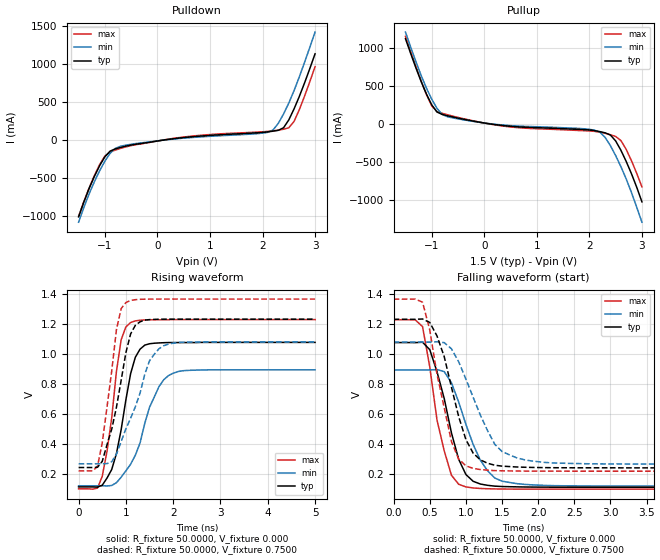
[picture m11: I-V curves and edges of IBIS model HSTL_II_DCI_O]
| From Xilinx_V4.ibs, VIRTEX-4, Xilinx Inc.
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|   Model HSTL_II_DCI_O
[Model]   HSTL_II_DCI_O
Model_type   Output
Polarity   Non-Inverting
Enable   Active-Low
Vmeas =   0.7500V
Cref =  0.000F
Rref =  50.0000
Vref =   0.7500V
C_comp   8.0000pF   8.0000pF   8.0000pF
[Temperature Range]   25.0000   85.0000   0.000
[Voltage Range]   1.5000V   1.4000V   1.6000V
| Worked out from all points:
|   slope of the pulldown table from 0 to 0.225 V, typ, clamps not added: 9.86 ohm
|   slope of the pullup table from 0 to 0.225 V, typ, clamps not added: 9.97 ohm
|   rising waveform, R_fixture 50.0000, V_fixture 0.000: 20-80 % time 342ps typ, 520ps min, 271ps max; typ from 0.114 V to 1.08 V
|   rising waveform, R_fixture 50.0000, V_fixture 0.7500: 20-80 % time 376ps typ, 542ps min, 273ps max; typ from 0.244 V to 1.23 V
|   falling waveform, R_fixture 50.0000, V_fixture 0.000: 20-80 % time 297ps typ, 371ps min, 251ps max; typ from 1.08 V to 0.114 V
|   falling waveform, R_fixture 50.0000, V_fixture 0.7500: 20-80 % time 331ps typ, 439ps min, 278ps max; typ from 1.23 V to 0.244 V
[Pulldown]
| voltage   I(typ)   I(min)   I(max)
-1.5V     -1.013A    -1.083A    -1.004A
-1.3V     -640.2mA   -710.8mA   -632.6mA
-1.1V     -339.3mA   -407.2mA   -324.7mA
-1V       -221.8mA   -280.1mA   -213.1mA
-800mV    -118mA     -110.3mA   -133.6mA
500mV     30.8mA     23.32mA    38.03mA
1.9V      93.56mA    82.42mA    103.1mA
2.2V      114.8mA    130.6mA    119.4mA
2.4V      159.3mA    340.5mA    140.7mA
2.5V      262.8mA    484.7mA    159.3mA
2.6V      407.3mA    648.3mA    242.7mA
3V        1.133A     1.419A     963.1mA
[Pullup]
| voltage   I(typ)   I(min)   I(max)
-1.5V     1.123A     1.21A      1.155A
-1.2V     558.3mA    637.8mA    565.5mA
-1V       254.2mA    328.7mA    241mA
-900mV    160.7mA    208.6mA    167.1mA
-800mV    129.2mA    128.8mA    143.9mA
400mV     -20.03mA   -12.5mA    -27.21mA
1.9V      -69.73mA   -59.11mA   -84.36mA
2.2V      -96.38mA   -103.5mA   -103.6mA
2.4V      -140.7mA   -280.3mA   -137.1mA
2.6V      -341.1mA   -556.2mA   -213.5mA
2.8V      -647.5mA   -893.9mA   -477mA
3V        -1.018A    -1.285A    -821.1mA
[Ramp]
| variable   typ   min   max
dV/dt_r   0.5782/0.3357n   0.4641/0.5103n   0.6770/0.2344n
dV/dt_f   0.5889/0.3574n   0.4822/0.5031n   0.6810/0.2740n
R_load = 50.0000
[Rising Waveform]
R_fixture = 50.0000
V_fixture = 0.000
| time   V(typ)   V(min)   V(max)
0s        114.4mV    121.9mV    101.6mV
400ps     112.9mV    121.9mV    106.3mV
500ps     125.7mV    121.7mV    184.8mV
700ps     230.3mV    123.8mV    573.8mV
900ps     496.5mV    178.9mV    1.096V
1.1ns     869.6mV    265.5mV    1.21V
1.4ns     1.06V      539mV      1.228V
1.7ns     1.075V     783.5mV    1.229V
1.9ns     1.077V     856.5mV    1.23V
5ns       1.078V     895.4mV    1.23V
[Rising Waveform]
R_fixture = 50.0000
V_fixture = 0.7500
V_fixture_min = 0.7000
V_fixture_max = 0.8000
| time   V(typ)   V(min)   V(max)
0s        243.6mV    268.6mV    221.4mV
400ps     245.1mV    268.6mV    251.9mV
500ps     284.8mV    268.7mV    408.7mV
800ps     645mV      332.6mV    1.163V
900ps     825.3mV    416.9mV    1.304V
1ns       1.01V      502mV      1.344V
1.2ns     1.192V     648.7mV    1.363V
1.5ns     1.23V      955.2mV    1.367V
1.8ns     1.233V     1.056V     1.367V
5ns       1.234V     1.081V     1.367V
[Falling Waveform]
R_fixture = 50.0000
V_fixture = 0.000
| time   V(typ)   V(min)   V(max)
0s        1.078V     895.4mV    1.23V
400ps     1.08V      895.3mV    1.184V
500ps     1.031V     895.4mV    915.6mV
600ps     883.8mV    898.4mV    562.1mV
800ps     476.3mV    810.1mV    194.2mV
900ps     300.3mV    681.7mV    134.1mV
1ns       199.1mV    533.6mV    116.6mV
1.2ns     135.8mV    294.3mV    106.3mV
1.5ns     119.3mV    155.1mV    102.6mV
5ns       114.4mV    121.9mV    101.6mV
[Falling Waveform]
R_fixture = 50.0000
V_fixture = 0.7500
V_fixture_min = 0.7000
V_fixture_max = 0.8000
| time   V(typ)   V(min)   V(max)
0s        1.233V     1.081V     1.367V
400ps     1.235V     1.081V     1.347V
500ps     1.212V     1.081V     1.161V
600ps     1.122V     1.083V     866.3mV
800ps     781.3mV    1.036V     418.4mV
1ns       431.9mV    834.6mV    257mV
1.2ns     296.7mV    595.1mV    232.2mV
1.4ns     261.1mV    400.3mV    225.1mV
1.7ns     249.5mV    310.8mV    222.5mV
5ns       243.6mV    268.6mV    221.4mV
